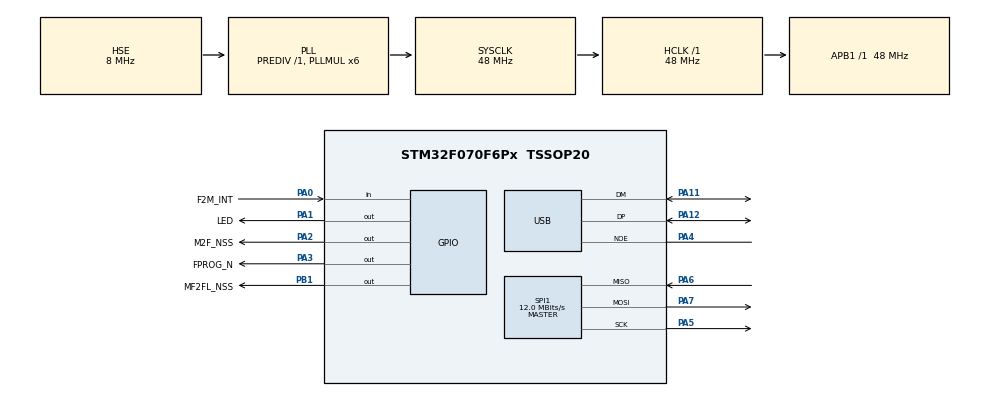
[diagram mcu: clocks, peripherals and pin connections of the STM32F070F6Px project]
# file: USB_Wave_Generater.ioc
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Dma.Request0=SPI1_TX
Dma.SPI1_TX.0.Direction=DMA_MEMORY_TO_PERIPH
Dma.SPI1_TX.0.Instance=DMA1_Channel3
Dma.SPI1_TX.0.MemDataAlignment=DMA_MDATAALIGN_BYTE
Dma.SPI1_TX.0.MemInc=DMA_MINC_ENABLE
Dma.SPI1_TX.0.Mode=DMA_NORMAL
Dma.SPI1_TX.0.PeriphDataAlignment=DMA_PDATAALIGN_BYTE
Dma.SPI1_TX.0.PeriphInc=DMA_PINC_DISABLE
Dma.SPI1_TX.0.Priority=DMA_PRIORITY_LOW
Mcu.Family=STM32F0
Mcu.Name=STM32F070F6Px
Mcu.Package=TSSOP20
NVIC.DMA1_Channel2_3_IRQn=true\:0\:0\:false\:false\:true\:false\:true\:true
NVIC.TIM14_IRQn=true\:3\:0\:true\:false\:true\:true\:true\:true
NVIC.USB_IRQn=true\:1\:0\:true\:false\:true\:false\:true\:true
PA0.GPIO_Label=F2M_INT
PA0.GPIO_PuPd=GPIO_PULLDOWN
PA0.Signal=GPIO_Input
PA1.GPIO_Label=LED
PA1.Signal=GPIO_Output
PA11.Mode=Device
PA11.Signal=USB_DM
PA12.Mode=Device
PA12.Signal=USB_DP
PA13.Mode=Serial_Wire
PA13.Signal=SYS_SWDIO
PA14.Mode=Serial_Wire
PA14.Signal=SYS_SWCLK
PA2.GPIO_Label=M2F_NSS
PA2.PinState=GPIO_PIN_SET
PA2.Signal=GPIO_Output
PA3.GPIO_Label=FPROG_N
PA3.GPIO_ModeDefaultOutputPP=GPIO_MODE_OUTPUT_OD
PA3.GPIO_PuPd=GPIO_NOPULL
PA3.PinState=GPIO_PIN_SET
PA3.Signal=GPIO_Output
PA4.Mode=Activate_NOE
PA4.Signal=USB_NOE
PA5.Mode=Full_Duplex_Master
PA5.Signal=SPI1_SCK
PA6.Mode=Full_Duplex_Master
PA6.Signal=SPI1_MISO
PA7.Mode=Full_Duplex_Master
PA7.Signal=SPI1_MOSI
PB1.GPIO_Label=MF2FL_NSS
PB1.GPIO_ModeDefaultOutputPP=GPIO_MODE_OUTPUT_OD
PB1.GPIO_PuPd=GPIO_PULLUP
PB1.PinState=GPIO_PIN_SET
PB1.Signal=GPIO_Output
PF0-OSC_IN.Mode=HSE-External-Oscillator
PF0-OSC_IN.Signal=RCC_OSC_IN
PF1-OSC_OUT.Mode=HSE-External-Oscillator
PF1-OSC_OUT.Signal=RCC_OSC_OUT
ProjectManager.HeapSize=0x200
ProjectManager.StackSize=0x400
ProjectManager.TargetToolchain=MDK-ARM V5.32
RCC.AHBFreq_Value=48000000
RCC.APB1Freq_Value=48000000
RCC.APB1TimFreq_Value=48000000
RCC.HCLKFreq_Value=48000000
RCC.PLLMUL=RCC_PLL_MUL6
RCC.SYSCLKFreq_VALUE=48000000
RCC.SYSCLKSource=RCC_SYSCLKSOURCE_PLLCLK
SPI1.BaudRatePrescaler=SPI_BAUDRATEPRESCALER_4
SPI1.CalculateBaudRate=12.0 MBits/s
SPI1.DataSize=SPI_DATASIZE_8BIT
SPI1.Direction=SPI_DIRECTION_2LINES
SPI1.Mode=SPI_MODE_MASTER
SPI1.NSSPMode=SPI_NSS_PULSE_DISABLE
SPI1.VirtualType=VM_MASTER
TIM14.AutoReloadPreload=TIM_AUTORELOAD_PRELOAD_ENABLE
TIM14.Period=499
TIM14.Prescaler=47999
USB_DEVICE.APP_RX_DATA_SIZE=256
USB_DEVICE.APP_TX_DATA_SIZE=64
USB_DEVICE.CLASS_NAME_FS=CDC
USB_DEVICE.USBD_MAX_STR_DESC_SIZ=32
USB_DEVICE.VirtualMode=Cdc
USB_DEVICE.VirtualModeFS=Cdc_FS
VP_SYS_VS_PINREMAP.Mode=PINREMAP
VP_TIM14_VS_ClockSourceINT.Mode=Enable_Timer
VP_USB_DEVICE_VS_USB_DEVICE_CDC_FS.Mode=CDC_FS
board=custom

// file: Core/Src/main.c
/* USER CODE BEGIN Header */
/**
  ******************************************************************************
  * @file           : main.c
  * @brief          : Main program body
  ******************************************************************************
  * @attention
  *
  * Copyright (c) 2026 STMicroelectronics.
  * All rights reserved.
  *
  * This software is licensed under terms that can be found in the LICENSE file
  * in the root directory of this software component.
  * If no LICENSE file comes with this software, it is provided AS-IS.
  *
  ******************************************************************************
  */
/* USER CODE END Header */
#include "main.h"
#include "dma.h"
#include "spi.h"
#include "tim.h"
#include "usb_device.h"
#include "gpio.h"

/* USER CODE BEGIN Includes */
#include "../wave_generater_driver/wave_generater_stm.h"
#include "../crc/crc.h"
#include "../flash/w25qxx_stm.h"
#include "usbd_cdc_if.h"

/* USER CODE END Includes */

/* USER CODE BEGIN PV */
extern uint8_t is_program_mode;
extern uint8_t recv_buf_usb_owned;
extern uint8_t recv_buf[2][RECV_BUFFER_SIZE];
uint8_t recv_buf_main_read = 0;
uint8_t flash_is_ok = 0;

/* USER CODE END PV */

void SystemClock_Config(void);

int main(void)
{

  /* MCU Configuration--------------------------------------------------------*/

  /* Reset of all peripherals, Initializes the Flash interface and the Systick. */
  HAL_Init();

  /* Configure the system clock */
  SystemClock_Config();

  /* USER CODE BEGIN SysInit */
  MX_GPIO_Init();
  HAL_Delay(500);
  uint16_t fpga_release_ms = 0;
  uint16_t fpga_stall_ms = 0;
  while((fpga_release_ms < 500) && (fpga_stall_ms < 2500))
  {
	if(HAL_GPIO_ReadPin(MF2FL_NSS_GPIO_Port, MF2FL_NSS_Pin) == GPIO_PIN_SET)
	{
		fpga_release_ms++;
	}
	else
	{
		fpga_release_ms = 0;
		fpga_stall_ms++;
	}
	HAL_Delay(1);
  }

  /* USER CODE END SysInit */

  /* Initialize all configured peripherals */
  MX_GPIO_Init();
  MX_DMA_Init();
  MX_SPI1_Init();
  MX_USB_DEVICE_Init();
  MX_TIM14_Init();
  /* USER CODE BEGIN 2 */
	if(fpga_stall_ms >= 2500)
	{
		HAL_GPIO_WritePin(FPROG_N_GPIO_Port, FPROG_N_Pin, GPIO_PIN_RESET);
	}

	wave_generater_init();

	if(flash_init() == 0)
	{
		flash_is_ok = 1;
	}

//   SysTick()
  /* USER CODE END 2 */

  /* Infinite loop */
  /* USER CODE BEGIN WHILE */
  while (1)
  {
	if(is_program_mode && flash_is_ok)
	{
		if(recv_buf[recv_buf_main_read][0] == 0xa0)
		{
			uint16_t packet_len = ((recv_buf[recv_buf_main_read][3] << 8) + recv_buf[recv_buf_main_read][4]);
			uint16_t crc = crc16_ccitt_false(&recv_buf[recv_buf_main_read][5], (packet_len + 2), 0xffff);
			if((crc == 0) && (recv_buf[recv_buf_main_read][5] == 0xf0))
			{
				CDC_Transmit_FS(&recv_buf[recv_buf_main_read][0], 9);
			}
			if((crc == 0) && (recv_buf[recv_buf_main_read][5] == 0xf1))
			{
				uint32_t addr;
				uint16_t len;
				uint8_t return_buf[14];
				addr = (recv_buf[recv_buf_main_read][7] << 16);
				addr += (recv_buf[recv_buf_main_read][8] << 8);
				addr += recv_buf[recv_buf_main_read][9];
				switch (recv_buf[recv_buf_main_read][6])
				{
				case 0x03:
					len = (recv_buf[recv_buf_main_read][10] << 8);
					len += recv_buf[recv_buf_main_read][11];
					flash_read_data(&flash1, addr, &recv_buf[recv_buf_main_read][10], len);
					len += 5;
					crc = crc16_ccitt_false(&recv_buf[recv_buf_main_read][5], len, 0xffff);
					recv_buf[recv_buf_main_read][3] = ((len >> 8) & 0xff);
					recv_buf[recv_buf_main_read][4] = (len & 0xff);
					recv_buf[recv_buf_main_read][len + 5] = ((crc >> 8) & 0xff);
					recv_buf[recv_buf_main_read][len + 6] = (crc & 0xff);
					CDC_Transmit_FS(&recv_buf[recv_buf_main_read][0], (len + 7));
					break;

				case 0x02:
					len = packet_len - 5;
					memcpy(&return_buf[0], &recv_buf[recv_buf_main_read][0], 10);
					return_buf[3] = 0x00;
					return_buf[4] = 0x07;
					return_buf[10] = ((len >> 8) & 0xff);
					return_buf[11] = (len & 0xff);
					crc = crc16_ccitt_false(&return_buf[5], 7, 0xffff);
					return_buf[12] = ((crc >> 8) & 0xff);
					return_buf[13] = (crc & 0xff);
					CDC_Transmit_FS(&return_buf[0], 14);
					flash_write_data(&flash1, addr, &recv_buf[recv_buf_main_read][10], len);
					break;

				case 0x20:
					memcpy(&return_buf[0], &recv_buf[recv_buf_main_read][0], 12);
					CDC_Transmit_FS(&recv_buf[recv_buf_main_read][0], 12);
					flash_erase_sector(&flash1, addr);
					break;

				case 0x52:
					memcpy(&return_buf[0], &recv_buf[recv_buf_main_read][0], 12);
					CDC_Transmit_FS(&recv_buf[recv_buf_main_read][0], 12);
					flash_erase_half_block(&flash1, addr);
					break;

				case 0xd8:
					memcpy(&return_buf[0], &recv_buf[recv_buf_main_read][0], 12);
					CDC_Transmit_FS(&recv_buf[recv_buf_main_read][0], 12);
					flash_erase_full_block(&flash1, addr);
					break;

				default:
					break;
				}
			}
			recv_buf[recv_buf_main_read][0] = 0;
			recv_buf_main_read = !recv_buf_main_read;
		}
	}
	// HAL_Delay(600);
	// uint8_t buf[8];
	// for(uint8_t i = 0; i < 8; i++)
	// {
	// 	buf[i] = 'A' + i;
	// }
	// // CDC_Transmit_FS(&buf[0], 8);
	// while(HAL_SPI_Transmit_DMA(&hspi1, &buf[0], 8) != HAL_OK);

	// HAL_Delay(2000);
	// uint8_t tbuf[2];
	// tbuf[0] = flash_is_ok;
	// tbuf[1] = is_program_mode;
	// CDC_Transmit_FS(&tbuf[0], 2);
	// uint8_t mid = 0x00;
	// uint16_t jid = 0xffff;
	// flash_read_id(&flash1, &mid, &jid);
	// CDC_Transmit_FS(&jid, 2);
	// uint8_t buf[1000];
	// flash_read_data(&flash1, 0, &buf[0], 1000);
	// CDC_Transmit_FS(&buf[0], 1000);

    /* USER CODE END WHILE */

  }
}

void SystemClock_Config(void)
{
  RCC_OscInitTypeDef RCC_OscInitStruct = {0};
  RCC_ClkInitTypeDef RCC_ClkInitStruct = {0};
  RCC_PeriphCLKInitTypeDef PeriphClkInit = {0};

  /** Initializes the RCC Oscillators according to the specified parameters
  * in the RCC_OscInitTypeDef structure.
  */
  RCC_OscInitStruct.OscillatorType = RCC_OSCILLATORTYPE_HSE;
  RCC_OscInitStruct.HSEState = RCC_HSE_ON;
  RCC_OscInitStruct.PLL.PLLState = RCC_PLL_ON;
  RCC_OscInitStruct.PLL.PLLSource = RCC_PLLSOURCE_HSE;
  RCC_OscInitStruct.PLL.PLLMUL = RCC_PLL_MUL6;
  RCC_OscInitStruct.PLL.PREDIV = RCC_PREDIV_DIV1;
  if (HAL_RCC_OscConfig(&RCC_OscInitStruct) != HAL_OK)
  {
    Error_Handler();
  }

  /** Initializes the CPU, AHB and APB buses clocks
  */
  RCC_ClkInitStruct.ClockType = RCC_CLOCKTYPE_HCLK|RCC_CLOCKTYPE_SYSCLK
                              |RCC_CLOCKTYPE_PCLK1;
  RCC_ClkInitStruct.SYSCLKSource = RCC_SYSCLKSOURCE_PLLCLK;
  RCC_ClkInitStruct.AHBCLKDivider = RCC_SYSCLK_DIV1;
  RCC_ClkInitStruct.APB1CLKDivider = RCC_HCLK_DIV1;

  if (HAL_RCC_ClockConfig(&RCC_ClkInitStruct, FLASH_LATENCY_1) != HAL_OK)
  {
    Error_Handler();
  }
  PeriphClkInit.PeriphClockSelection = RCC_PERIPHCLK_USB;
  PeriphClkInit.UsbClockSelection = RCC_USBCLKSOURCE_PLL;

  if (HAL_RCCEx_PeriphCLKConfig(&PeriphClkInit) != HAL_OK)
  {
    Error_Handler();
  }
}

/* USER CODE BEGIN 4 */

// 实现回调函数，在 DMA 传输完成后触发
void HAL_SPI_TxCpltCallback(SPI_HandleTypeDef *hspi)
{
    if (hspi->Instance == SPI1)
    {
        // 数据传输完成，可以拉高片选或进行下一步操作
        HAL_GPIO_WritePin(M2F_NSS_GPIO_Port, M2F_NSS_Pin, GPIO_PIN_SET);
    }
}

void HAL_TIM_PeriodElapsedCallback(TIM_HandleTypeDef *htim)
{
    if (htim->Instance == TIM14) {
        // 你的定时任务
		GPIO_PinState pin_state = HAL_GPIO_ReadPin(LED_GPIO_Port, LED_Pin);
		HAL_GPIO_WritePin(LED_GPIO_Port, LED_Pin, (!pin_state));
    }
}

/* USER CODE END 4 */

void Error_Handler(void)
{
  __disable_irq();
  while (1)
  {
  }
}
